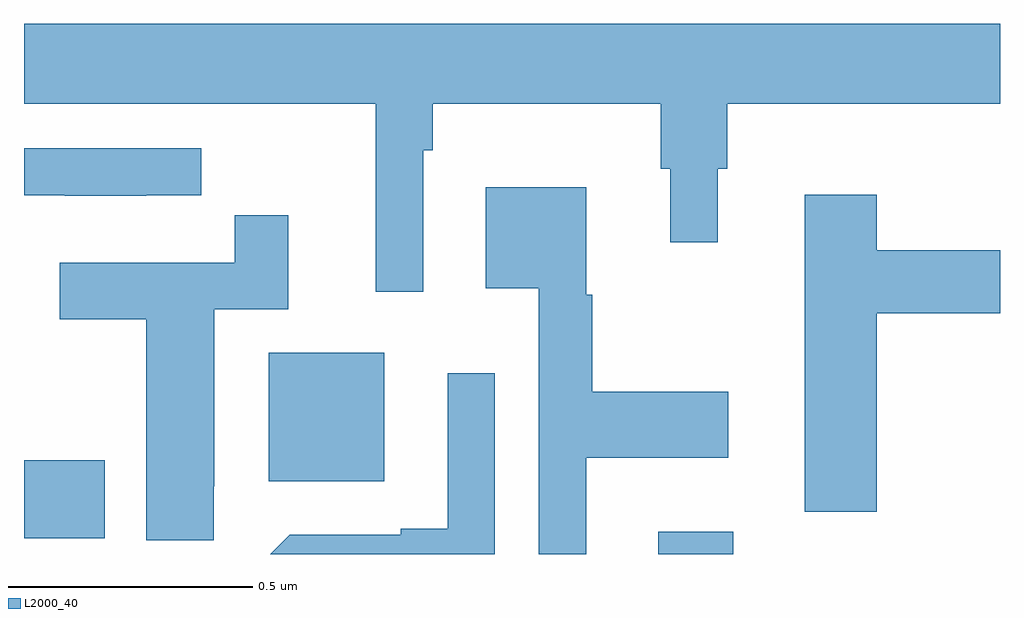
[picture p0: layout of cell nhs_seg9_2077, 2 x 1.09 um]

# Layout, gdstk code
import gdstk
lib = gdstk.Library(unit=1e-6, precision=1e-09)
def R(c, l, rs):  # rectangles x0, y0, x1, y1
    for r in rs: c.add(gdstk.rectangle(r[:2], r[2:], *l))
def P(c, l, *ps):  # polygons
    for p in ps: c.add(gdstk.Polygon(p, *l))
L2000_40 = (2000, 40)

nhs_seg9_2077 = lib.new_cell('nhs_seg9_2077')
R(nhs_seg9_2077, L2000_40, [(137.3,1191.5,137.453,1191.547), (136,1191.533,136.165,1191.693), (136.502,1191.65,136.738,1191.913)])
P(nhs_seg9_2077, L2000_40, [(136.818,1192.328),(136.838,1192.328),(136.838,1192.424),(137.305,1192.424),(137.305,1192.29),(137.324,1192.29),(137.324,1192.14),(137.422,1192.14),(137.422,1192.29),(137.441,1192.29),(137.441,1192.424),(138,1192.424),(138,1192.588),(136,1192.588),(136,1192.424),(136.721,1192.424),(136.721,1192.038),(136.818,1192.038)],
  [(136.25,1192.236),(136.363,1192.236),(136.363,1192.332),(136,1192.332),(136,1192.236),(136.084,1192.236),(136.084,1192.235),(136.25,1192.235)],
  [(137.152,1191.698),(137.443,1191.698),(137.443,1191.833),(137.164,1191.833),(137.164,1192.032),(137.152,1192.032),(137.152,1192.252),(136.946,1192.252),(136.946,1192.046),(137.055,1192.046),(137.055,1191.5),(137.152,1191.5)],
  [(137.747,1191.994),(138,1191.994),(138,1192.123),(137.747,1192.123),(137.747,1192.237),(137.6,1192.237),(137.6,1191.588),(137.747,1191.588)],
  [(136.389,1191.64),(136.39,1191.64),(136.39,1192.002),(136.541,1192.002),(136.541,1192.195),(136.432,1192.195),(136.432,1192.098),(136.073,1192.098),(136.073,1191.982),(136.25,1191.982),(136.25,1191.529),(136.389,1191.529)],
  [(136.965,1191.871),(136.868,1191.871),(136.868,1191.553),(136.772,1191.553),(136.772,1191.54),(136.545,1191.54),(136.505,1191.5),(136.965,1191.5)])

lib.write_gds('nhs_seg9_2077.gds')
